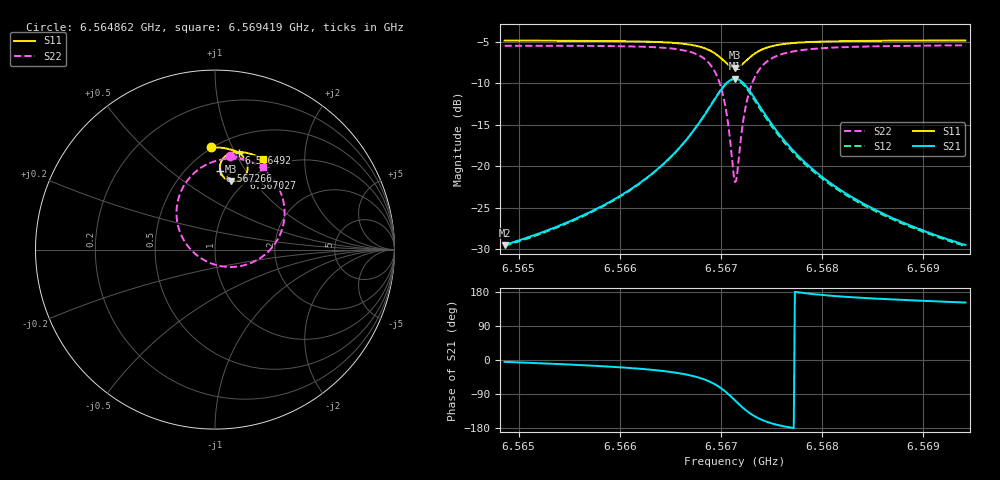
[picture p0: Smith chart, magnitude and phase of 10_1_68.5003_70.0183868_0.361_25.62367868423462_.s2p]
#  HZ  S  RI  R  50.00
! Rohde & Schwarz Vector Network Analyzer
! Rohde-Schwarz,ZNB20-2Port,1311601062101988,3.16
! Created: UTC 3/20/2024, 4:48:58 PM
! freq[Hz]  re:S11  im:S11  re:S21  im:S21  re:S12  im:S12  re:S22  im:S22
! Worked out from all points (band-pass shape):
!   401 points, 6.564862 GHz to 6.569419 GHz, reference 50 ohm
!   highest |S21| = -9.47 dB at 6.567141 GHz (marker M1); lowest = -29.5 dB at 6.564862 GHz (marker M2)
!   |S21| within 3 dB of the highest: 6.566913 GHz to 6.567369 GHz (455.7 kHz wide, 0.00694 % of centre)
!   lowest |S11| = -8.2 dB at 6.567141 GHz (marker M3), VSWR 2.28, Z = 43.3 + j38.9 ohm
!   |S11| at or under -10 dB: nowhere
!   |S22| runs from -21.9 to -5.4 dB; largest |S21 - S12| = 0.018
!   S11 on the Smith chart (normalised r, x): 6.564862 GHz: 0.49, +0.83; 6.566492 GHz: 0.67, +1.04; 6.567027 GHz: 0.94, +0.93; 6.567266 GHz: 0.71, +0.77; 6.569419 GHz: 0.86, +1.28
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6.5648625e9  -0.0219 0.569  0.0333 -0.00287  0.0328 -0.00338  0.0837 0.5237
6.5656258e9  0.0433 0.5663  0.0486 -0.0118  0.0479 -0.0123  0.1643 0.5038
6.5660586e9  0.0846 0.5587  0.0651 -0.0241  0.0641 -0.0248  0.2239 0.4771
6.566389e9  0.1212 0.5453  0.0862 -0.0456  0.0851 -0.0466  0.2854 0.4328
6.5664915e9  0.1339 0.5381  0.0953 -0.0575  0.0941 -0.0588  0.3092 0.4091
6.5666966e9  0.1619 0.5139  0.1168 -0.0996  0.115 -0.1018  0.3623 0.3268
6.5668561e9  0.1807 0.4753  0.1258 -0.168  0.1224 -0.1723  0.3876 0.1945
6.5669586e9  0.1789 0.4341  0.1039 -0.2409  0.0968 -0.246  0.3485 0.0557
6.567027e9  0.1599 0.4021  0.0562 -0.2951  0.0443 -0.299  0.2571 -0.0441
6.5670839e9  0.1282 0.3826  -0.0124 -0.3255  -0.028 -0.325  0.1283 -0.0941
6.5671181e9  0.1039 0.379  -0.0622 -0.3284  -0.0786 -0.3237  0.0372 -0.093
6.5671409e9  0.0873 0.381  -0.096 -0.3219  -0.1118 -0.3143  -0.0226 -0.0768
6.5671637e9  0.0713 0.3865  -0.1279 -0.3089  -0.1423 -0.2985  -0.0774 -0.0486
6.5672206e9  0.041 0.4125  -0.1886 -0.2551  -0.1972 -0.2404  -0.1758 0.0561
6.5672662e9  0.0293 0.4387  -0.2131 -0.2033  -0.2169 -0.1885  -0.2098 0.1507
6.5673573e9  0.032 0.4844  -0.2148 -0.1153  -0.2127 -0.1038  -0.1974 0.3043
6.567494e9  0.0596 0.5221  -0.1773 -0.0428  -0.1733 -0.0364  -0.1168 0.4259
6.5676535e9  0.0919 0.5388  -0.1365 -0.00813  -0.1328 -0.00481  -0.0325 0.4809
6.5679041e9  0.131 0.5443  -0.0956 0.00979  -0.0932 0.0113  0.0563 0.5044
6.5682459e9  0.1706 0.5398  -0.0661 0.0158  -0.0644 0.0164  0.1311 0.5044
6.5686674e9  0.21 0.5289  -0.0468 0.0168  -0.0455 0.0173  0.1919 0.4922
6.5694193e9  0.2692 0.5037  -0.0295 0.0159  -0.0289 0.0161  0.2676 0.4623
